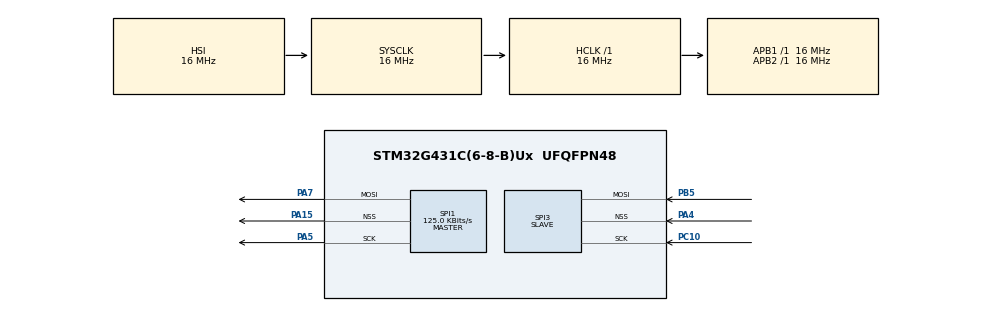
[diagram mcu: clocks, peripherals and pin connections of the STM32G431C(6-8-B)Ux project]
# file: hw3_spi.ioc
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Mcu.Family=STM32G4
Mcu.Name=STM32G431C(6-8-B)Ux
Mcu.Package=UFQFPN48
NVIC.PriorityGroup=NVIC_PRIORITYGROUP_4
NVIC.SPI1_IRQn=true\:6\:0\:true\:false\:true\:true\:true\:true
NVIC.SPI3_IRQn=true\:5\:0\:true\:false\:true\:true\:true\:true
PA13.Mode=Serial_Wire
PA13.Signal=SYS_JTMS-SWDIO
PA14.Mode=Serial_Wire
PA14.Signal=SYS_JTCK-SWCLK
PA15.Mode=NSS_Signal_Hard_Output
PA15.Signal=SPI1_NSS
PA4.Mode=NSS_Signal_Hard_Input
PA4.Signal=SPI3_NSS
PA5.Mode=TX_Only_Simplex_Unidirect_Master
PA5.Signal=SPI1_SCK
PA7.Mode=TX_Only_Simplex_Unidirect_Master
PA7.Signal=SPI1_MOSI
PB5.Mode=RX_Only_Simplex_Unidirect_Slave
PB5.Signal=SPI3_MOSI
PC10.Mode=RX_Only_Simplex_Unidirect_Slave
PC10.Signal=SPI3_SCK
ProjectManager.HeapSize=0x200
ProjectManager.StackSize=0x400
ProjectManager.TargetToolchain=STM32CubeIDE
RCC.AHBFreq_Value=16000000
RCC.APB1Freq_Value=16000000
RCC.APB1TimFreq_Value=16000000
RCC.APB2Freq_Value=16000000
RCC.APB2TimFreq_Value=16000000
RCC.CortexFreq_Value=16000000
RCC.EXTERNAL_CLOCK_VALUE=12288000
RCC.HCLKFreq_Value=16000000
RCC.HSE_VALUE=8000000
RCC.HSI48_VALUE=48000000
RCC.HSI_VALUE=16000000
RCC.LSE_VALUE=32768
RCC.SYSCLKFreq_VALUE=16000000
RCC.USBFreq_Value=64000000
RCC.VCOOutputFreq_Value=128000000
SPI1.BaudRatePrescaler=SPI_BAUDRATEPRESCALER_128
SPI1.CalculateBaudRate=125.0 KBits/s
SPI1.DataSize=SPI_DATASIZE_8BIT
SPI1.Direction=SPI_DIRECTION_2LINES
SPI1.Mode=SPI_MODE_MASTER
SPI1.VirtualNSS=VM_NSSHARD
SPI1.VirtualType=VM_MASTER
SPI3.DataSize=SPI_DATASIZE_8BIT
SPI3.Direction=SPI_DIRECTION_2LINES_RXONLY
SPI3.Mode=SPI_MODE_SLAVE
SPI3.VirtualNSS=VM_NSSHARD
SPI3.VirtualType=VM_SLAVE
VP_SYS_VS_DBSignals.Mode=DisableDeadBatterySignals
board=custom

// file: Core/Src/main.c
/* USER CODE BEGIN Header */
/**
  ******************************************************************************
  * @file           : main.c
  * @brief          : Main program body
  ******************************************************************************
  * @attention
  *
  * Copyright (c) 2025 STMicroelectronics.
  * All rights reserved.
  *
  * This software is licensed under terms that can be found in the LICENSE file
  * in the root directory of this software component.
  * If no LICENSE file comes with this software, it is provided AS-IS.
  *
  ******************************************************************************
  */
/* USER CODE END Header */
#include "main.h"

/* USER CODE BEGIN Includes */
#include <string.h>
/* USER CODE END Includes */

/* USER CODE BEGIN PTD */
#define SPI_BUF_SIZE	15
/* USER CODE END PTD */

SPI_HandleTypeDef hspi1;
SPI_HandleTypeDef hspi3;

/* USER CODE BEGIN PV */
volatile uint8_t rx_flag = 0;
volatile uint8_t tx_flag = 0;
uint8_t spi1_tx_buf[SPI_BUF_SIZE] = "Hello SPI3";
uint8_t spi3_rx_buf[SPI_BUF_SIZE] = {0};
/* USER CODE END PV */

void SystemClock_Config(void);
static void MX_GPIO_Init(void);
static void MX_SPI1_Init(void);
static void MX_SPI3_Init(void);
/* USER CODE BEGIN PFP */
void HAL_SPI_RxCpltCallback(SPI_HandleTypeDef *);
void HAL_SPI_TxCpltCallback(SPI_HandleTypeDef *);
/* USER CODE END PFP */

int main(void)
{

  /* MCU Configuration--------------------------------------------------------*/

  /* Reset of all peripherals, Initializes the Flash interface and the Systick. */
  HAL_Init();

  /* Configure the system clock */
  SystemClock_Config();

  /* Initialize all configured peripherals */
  MX_GPIO_Init();
  MX_SPI1_Init();
  MX_SPI3_Init();
  /* USER CODE BEGIN 2 */
HAL_SPI_Receive_IT(&hspi3, spi3_rx_buf, strlen((char*)spi1_tx_buf));
HAL_SPI_Transmit_IT(&hspi1, spi1_tx_buf, strlen((char*)spi1_tx_buf));
  /* USER CODE END 2 */

  /* Infinite loop */
  while (1)
  {

  }
}

void SystemClock_Config(void)
{
  RCC_OscInitTypeDef RCC_OscInitStruct = {0};
  RCC_ClkInitTypeDef RCC_ClkInitStruct = {0};

  /** Configure the main internal regulator output voltage
  */
  HAL_PWREx_ControlVoltageScaling(PWR_REGULATOR_VOLTAGE_SCALE1);

  /** Initializes the RCC Oscillators according to the specified parameters
  * in the RCC_OscInitTypeDef structure.
  */
  RCC_OscInitStruct.OscillatorType = RCC_OSCILLATORTYPE_HSI;
  RCC_OscInitStruct.HSIState = RCC_HSI_ON;
  RCC_OscInitStruct.HSICalibrationValue = RCC_HSICALIBRATION_DEFAULT;
  RCC_OscInitStruct.PLL.PLLState = RCC_PLL_NONE;
  if (HAL_RCC_OscConfig(&RCC_OscInitStruct) != HAL_OK)
  {
    Error_Handler();
  }

  /** Initializes the CPU, AHB and APB buses clocks
  */
  RCC_ClkInitStruct.ClockType = RCC_CLOCKTYPE_HCLK|RCC_CLOCKTYPE_SYSCLK
                              |RCC_CLOCKTYPE_PCLK1|RCC_CLOCKTYPE_PCLK2;
  RCC_ClkInitStruct.SYSCLKSource = RCC_SYSCLKSOURCE_HSI;
  RCC_ClkInitStruct.AHBCLKDivider = RCC_SYSCLK_DIV1;
  RCC_ClkInitStruct.APB1CLKDivider = RCC_HCLK_DIV1;
  RCC_ClkInitStruct.APB2CLKDivider = RCC_HCLK_DIV1;

  if (HAL_RCC_ClockConfig(&RCC_ClkInitStruct, FLASH_LATENCY_0) != HAL_OK)
  {
    Error_Handler();
  }
}

static void MX_SPI1_Init(void)
{

  /* SPI1 parameter configuration*/
  hspi1.Instance = SPI1;
  hspi1.Init.Mode = SPI_MODE_MASTER;
  hspi1.Init.Direction = SPI_DIRECTION_2LINES;
  hspi1.Init.DataSize = SPI_DATASIZE_8BIT;
  hspi1.Init.CLKPolarity = SPI_POLARITY_LOW;
  hspi1.Init.CLKPhase = SPI_PHASE_1EDGE;
  hspi1.Init.NSS = SPI_NSS_HARD_OUTPUT;
  hspi1.Init.BaudRatePrescaler = SPI_BAUDRATEPRESCALER_128;
  hspi1.Init.FirstBit = SPI_FIRSTBIT_MSB;
  hspi1.Init.TIMode = SPI_TIMODE_DISABLE;
  hspi1.Init.CRCCalculation = SPI_CRCCALCULATION_DISABLE;
  hspi1.Init.CRCPolynomial = 7;
  hspi1.Init.CRCLength = SPI_CRC_LENGTH_DATASIZE;
  hspi1.Init.NSSPMode = SPI_NSS_PULSE_ENABLE;
  if (HAL_SPI_Init(&hspi1) != HAL_OK)
  {
    Error_Handler();
  }

}

static void MX_SPI3_Init(void)
{

  /* SPI3 parameter configuration*/
  hspi3.Instance = SPI3;
  hspi3.Init.Mode = SPI_MODE_SLAVE;
  hspi3.Init.Direction = SPI_DIRECTION_2LINES_RXONLY;
  hspi3.Init.DataSize = SPI_DATASIZE_8BIT;
  hspi3.Init.CLKPolarity = SPI_POLARITY_LOW;
  hspi3.Init.CLKPhase = SPI_PHASE_1EDGE;
  hspi3.Init.NSS = SPI_NSS_HARD_INPUT;
  hspi3.Init.FirstBit = SPI_FIRSTBIT_MSB;
  hspi3.Init.TIMode = SPI_TIMODE_DISABLE;
  hspi3.Init.CRCCalculation = SPI_CRCCALCULATION_DISABLE;
  hspi3.Init.CRCPolynomial = 7;
  hspi3.Init.CRCLength = SPI_CRC_LENGTH_DATASIZE;
  hspi3.Init.NSSPMode = SPI_NSS_PULSE_DISABLE;
  if (HAL_SPI_Init(&hspi3) != HAL_OK)
  {
    Error_Handler();
  }

}

static void MX_GPIO_Init(void)
{

  /* GPIO Ports Clock Enable */
  __HAL_RCC_GPIOA_CLK_ENABLE();
  __HAL_RCC_GPIOC_CLK_ENABLE();
  __HAL_RCC_GPIOB_CLK_ENABLE();

}

/* USER CODE BEGIN 4 */
void HAL_SPI_RxCpltCallback(SPI_HandleTypeDef *hspi)
{
	if(hspi == &hspi3)
		rx_flag = 1;
}
void HAL_SPI_TxCpltCallback(SPI_HandleTypeDef *hspi)
{
	if(hspi == &hspi1)
		tx_flag = 1;
}
/* USER CODE END 4 */

void Error_Handler(void)
{
  __disable_irq();
  while (1)
  {
  }
}
